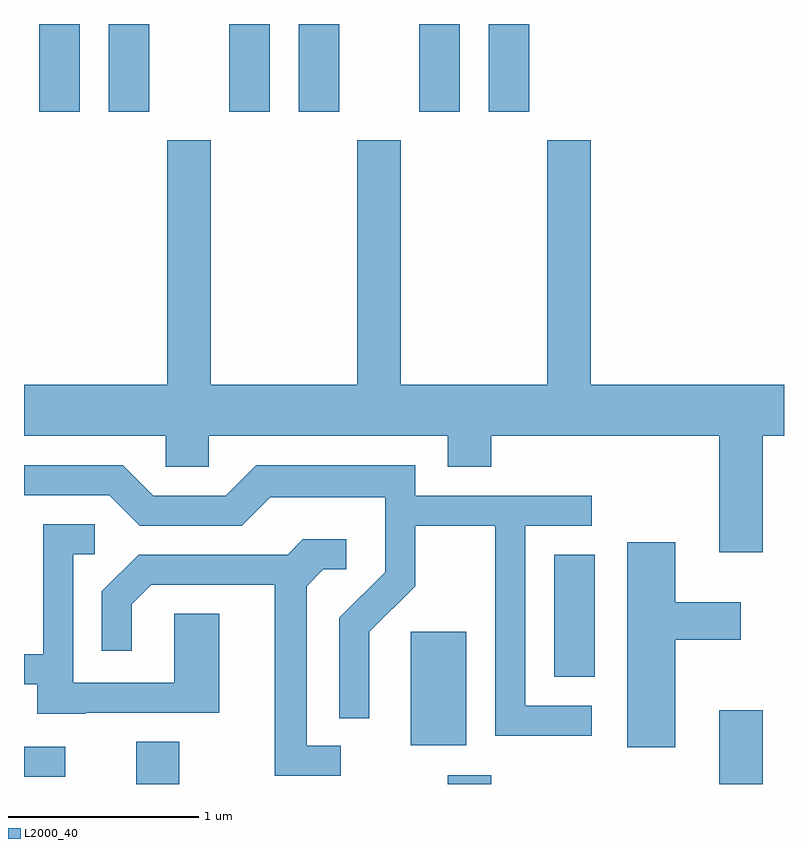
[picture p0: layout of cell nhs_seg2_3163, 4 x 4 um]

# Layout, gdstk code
import gdstk
lib = gdstk.Library(unit=1e-6, precision=1e-09)
def R(c, l, rs):  # rectangles x0, y0, x1, y1
    for r in rs: c.add(gdstk.rectangle(r[:2], r[2:], *l))
def P(c, l, *ps):  # polygons
    for p in ps: c.add(gdstk.Polygon(p, *l))
L2000_40 = (2000, 40)

nhs_seg2_3163 = lib.new_cell('nhs_seg2_3163')
R(nhs_seg2_3163, L2000_40, [(278.201,1059.802,278.429,1060.024), (279.841,1059.802,280.069,1059.849), (281.271,1059.802,281.499,1060.189), (277.611,1059.841,277.828,1059.999), (279.646,1060.006,279.939,1060.604), (280.401,1060.366,280.614,1061.009), (277.691,1063.341,277.904,1063.802), (278.056,1063.341,278.269,1063.802), (278.691,1063.341,278.904,1063.802), (279.056,1063.341,279.269,1063.802), (279.691,1063.341,279.904,1063.802), (280.056,1063.341,280.269,1063.802)])
P(nhs_seg2_3163, L2000_40, [(281.499,1061.636),(281.611,1061.636),(281.611,1061.904),(280.594,1061.904),(280.594,1063.189),(280.366,1063.189),(280.366,1061.904),(279.594,1061.904),(279.594,1063.189),(279.366,1063.189),(279.366,1061.904),(278.594,1061.904),(278.594,1063.189),(278.366,1063.189),(278.366,1061.904),(277.611,1061.904),(277.611,1061.636),(278.356,1061.636),(278.356,1061.471),(278.584,1061.471),(278.584,1061.636),(279.841,1061.636),(279.841,1061.471),(280.069,1061.471),(280.069,1061.636),(281.271,1061.636),(281.271,1061.021),(281.499,1061.021)],
  [(280.598,1060.214),(280.249,1060.214),(280.249,1061.161),(280.598,1061.161),(280.598,1061.319),(279.669,1061.319),(279.669,1061.479),(278.834,1061.479),(278.674,1061.319),(278.292,1061.319),(278.132,1061.479),(277.611,1061.479),(277.611,1061.321),(278.059,1061.321),(278.219,1061.161),(278.757,1061.161),(278.907,1061.311),(279.511,1061.311),(279.511,1060.917),(279.271,1060.677),(279.271,1060.148),(279.429,1060.148),(279.429,1060.604),(279.669,1060.844),(279.669,1061.161),(280.091,1061.161),(280.091,1060.056),(280.598,1060.056)],
  [(277.935,1060.176),(278.639,1060.176),(278.639,1060.699),(278.401,1060.699),(278.401,1060.334),(277.869,1060.334),(277.869,1061.011),(277.983,1061.011),(277.983,1061.169),(277.711,1061.169),(277.711,1060.484),(277.611,1060.484),(277.611,1060.326),(277.681,1060.326),(277.681,1060.171),(277.935,1060.171)],
  [(279.278,1060.004),(279.099,1060.004),(279.099,1060.844),(279.187,1060.931),(279.308,1060.931),(279.308,1061.089),(279.079,1061.089),(278.999,1061.009),(278.214,1061.009),(278.021,1060.817),(278.021,1060.503),(278.179,1060.503),(278.179,1060.749),(278.282,1060.851),(278.931,1060.851),(278.931,1059.846),(279.278,1059.846)],
  [(281.039,1060.561),(281.384,1060.561),(281.384,1060.759),(281.039,1060.759),(281.039,1061.074),(280.786,1061.074),(280.786,1059.996),(281.039,1059.996)])

lib.write_gds('nhs_seg2_3163.gds')
